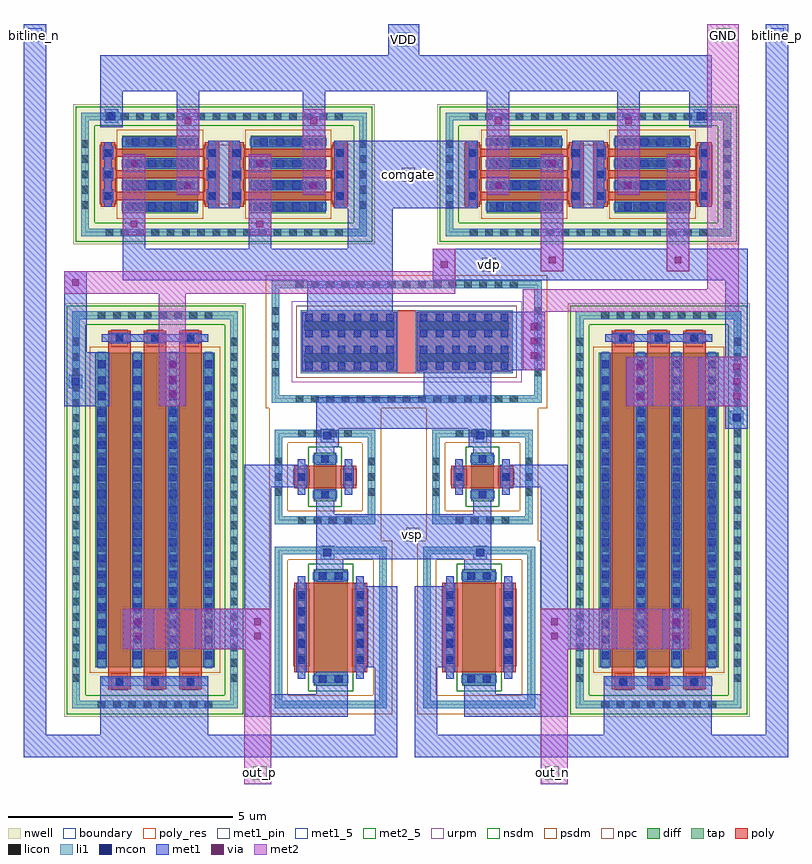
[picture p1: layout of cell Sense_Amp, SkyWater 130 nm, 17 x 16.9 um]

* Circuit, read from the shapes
.subckt Sense_Amp BITLINE_N BITLINE_P GND OUT_N OUT_P VDD comgate vdp vsp
XM1 vsp BITLINE_N OUT_P GND sky130_fd_pr__nfet_01v8 w=0.75 l=2
XM2 GND OUT_P vsp GND sky130_fd_pr__nfet_01v8 w=0.5 l=0.5
XM3 vsp BITLINE_P OUT_N GND sky130_fd_pr__nfet_01v8 w=0.75 l=2
XM4 GND OUT_N vsp GND sky130_fd_pr__nfet_01v8 w=0.5 l=0.5
XM5 OUT_P BITLINE_N vdp vdp sky130_fd_pr__pfet_01v8 w=7 l=0.5 m=3
XM6 VDD comgate comgate VDD sky130_fd_pr__pfet_01v8 w=1.67 l=0.18 m=6
XM7 VDD comgate vdp VDD sky130_fd_pr__pfet_01v8 w=1.67 l=0.18 m=6
XM8 vdp BITLINE_P OUT_N vdp sky130_fd_pr__pfet_01v8 w=7 l=0.5 m=3
XR9 GND comgate GND sky130_fd_pr__res_xhigh_po w=1.41 l=0.43
.ends

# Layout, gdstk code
from math import pi, radians
import gdstk
lib = gdstk.Library(unit=1e-6, precision=1e-09)
def R(c, l, rs):  # rectangles x0, y0, x1, y1
    for r in rs: c.add(gdstk.rectangle(r[:2], r[2:], *l))
def A(c, l, x, y, w, h, nx, ny, dx, dy):  # array of equal rectangles
    R(c, l, [(x+i*dx, y+j*dy, x+i*dx+w, y+j*dy+h) for i in range(nx) for j in range(ny)])
nwell = (64, 20)
diff = (65, 20)
tap = (65, 44)
poly_res = (66, 13)
poly = (66, 20)
licon = (66, 44)
li1 = (67, 20)
mcon = (67, 44)
met1_5 = (68, 5)
met1_pin = (68, 16)
met1 = (68, 20)
via = (68, 44)
met2_5 = (69, 5)
met2 = (69, 20)
urpm = (79, 20)
nsdm = (93, 44)
psdm = (94, 20)
npc = (95, 20)
boundary = (235, 4)

sky130_fd_pr__res_xhigh_ = lib.new_cell('sky130_fd_pr__res_xhigh_po_1p41_PQT5GU')
R(sky130_fd_pr__res_xhigh_, tap, [(-1.355,-3.005,1.355,-2.835), (-1.355,-2.835,-1.185,2.835), (1.185,-2.835,1.355,2.835), (-1.355,2.835,1.355,3.005)])
R(sky130_fd_pr__res_xhigh_, poly_res, [(-0.705,-0.275,0.705,0.275)])
R(sky130_fd_pr__res_xhigh_, poly, [(-0.705,-2.355,0.705,2.355)])
A(sky130_fd_pr__res_xhigh_, licon, -0.765, -3.005, 0.17, 0.17, 5, 2, 0.34, 5.84)
A(sky130_fd_pr__res_xhigh_, licon, -1.355, -2.465, 0.17, 0.17, 1, 15, 0, 0.34)
A(sky130_fd_pr__res_xhigh_, licon, 1.185, -2.465, 0.17, 0.17, 1, 15, 0, 0.34)
R(sky130_fd_pr__res_xhigh_, licon, [(-0.45,-2.275,-0.26,-0.275), (0.26,-2.275,0.45,-0.275), (-0.45,0.275,-0.26,2.275), (0.26,0.275,0.45,2.275)])
R(sky130_fd_pr__res_xhigh_, li1, [(-1.355,-3.005,1.355,-2.835), (-1.355,-2.835,-1.185,2.835), (1.185,-2.835,1.355,2.835), (-0.705,-2.355,0.705,-0.195), (-0.705,0.195,0.705,2.355), (-1.355,2.835,1.355,3.005)])
A(sky130_fd_pr__res_xhigh_, mcon, -0.625, -2.26, 0.17, 0.17, 4, 6, 0.36, 0.36)
A(sky130_fd_pr__res_xhigh_, mcon, -0.625, 0.285, 0.17, 0.17, 4, 6, 0.36, 0.36)
R(sky130_fd_pr__res_xhigh_, met1, [(-0.655,-2.325,0.655,-0.22), (-0.655,0.22,0.655,2.325)])
R(sky130_fd_pr__res_xhigh_, urpm, [(-0.905,-2.555,0.905,2.555)])
R(sky130_fd_pr__res_xhigh_, psdm, [(-1.48,-3.13,1.48,3.13)])
R(sky130_fd_pr__res_xhigh_, npc, [(-0.8,-2.45,0.8,2.45)])
R(sky130_fd_pr__res_xhigh_, boundary, [(-1.27,-2.92,1.27,2.92)])
sky130_fd_pr__res_xhigh_.add(gdstk.Label('B', (0,-2.92), layer=67, texttype=5))
sky130_fd_pr__res_xhigh_.add(gdstk.Label('R1', (0,2.18), layer=67, texttype=5))
sky130_fd_pr__res_xhigh_.add(gdstk.Label('R2', (0,-2.18), layer=67, texttype=5))

sky130_fd_pr__pfet_01v8_ = lib.new_cell('sky130_fd_pr__pfet_01v8_TGVDXL')
R(sky130_fd_pr__pfet_01v8_, nwell, [(-2.02,-4.595,2.02,4.595)])
R(sky130_fd_pr__pfet_01v8_, diff, [(-1.33,-3.5,1.33,3.5)])
R(sky130_fd_pr__pfet_01v8_, tap, [(-1.84,-4.415,1.84,-4.245), (-1.84,-4.245,-1.67,4.245), (1.67,-4.245,1.84,4.245), (-1.84,4.245,1.84,4.415)])
A(sky130_fd_pr__pfet_01v8_, poly, -1.04, -3.985, 0.5, 7.97, 3, 1, 0.79, 0)
A(sky130_fd_pr__pfet_01v8_, licon, -1.275, -4.415, 0.17, 0.17, 8, 2, 0.34, 8.66)
A(sky130_fd_pr__pfet_01v8_, licon, -0.875, -3.905, 0.17, 0.17, 3, 2, 0.79, 7.64)
A(sky130_fd_pr__pfet_01v8_, licon, -1.84, -3.825, 0.17, 0.17, 1, 23, 0, 0.34)
A(sky130_fd_pr__pfet_01v8_, licon, 1.67, -3.825, 0.17, 0.17, 1, 23, 0, 0.34)
A(sky130_fd_pr__pfet_01v8_, licon, -1.27, -3.315, 0.17, 0.17, 4, 20, 0.79, 0.34)
A(sky130_fd_pr__pfet_01v8_, li1, -1.27, -3.52, 0.17, 7.04, 4, 1, 0.79, 0)
R(sky130_fd_pr__pfet_01v8_, li1, [(-1.84,-4.415,1.84,-4.245), (-1.84,-4.245,-1.67,4.245), (1.67,-4.245,1.84,4.245), (-1.185,-3.905,1.185,-3.735), (-1.185,3.735,1.185,3.905), (-1.84,4.245,1.84,4.415)])
A(sky130_fd_pr__pfet_01v8_, mcon, -0.875, -3.905, 0.17, 0.17, 3, 2, 0.79, 7.64)
A(sky130_fd_pr__pfet_01v8_, mcon, -1.27, -3.325, 0.17, 0.17, 4, 19, 0.79, 0.36)
A(sky130_fd_pr__pfet_01v8_, met1, -1.02, -3.935, 0.46, 0.03, 3, 2, 0.79, 0.2)
A(sky130_fd_pr__pfet_01v8_, met1, -1.3, -3.5, 0.23, 7, 4, 1, 0.79, 0)
A(sky130_fd_pr__pfet_01v8_, met1, -1.02, 3.705, 0.46, 0.03, 3, 2, 0.79, 0.2)
R(sky130_fd_pr__pfet_01v8_, met1, [(-1.185,-3.905,1.185,-3.735), (-1.185,3.735,1.185,3.905)])
R(sky130_fd_pr__pfet_01v8_, nsdm, [(-1.965,-4.54,1.965,-4.12), (-1.965,-4.12,-1.545,4.12), (1.545,-4.12,1.965,4.12), (-1.965,4.12,1.965,4.54)])
R(sky130_fd_pr__pfet_01v8_, psdm, [(-1.455,-3.625,1.455,3.625)])
A(sky130_fd_pr__pfet_01v8_, npc, -0.975, -4.005, 0.37, 0.37, 3, 2, 0.79, 7.64)
R(sky130_fd_pr__pfet_01v8_, boundary, [(-1.755,-4.33,1.755,4.33)])
sky130_fd_pr__pfet_01v8_.add(gdstk.Label('B', (0,-4.33), layer=67, texttype=5))
sky130_fd_pr__pfet_01v8_.add(gdstk.Label('D0', (-1.185,0), layer=67, texttype=5))
sky130_fd_pr__pfet_01v8_.add(gdstk.Label('G', (0.79,3.82), layer=67, texttype=5))
sky130_fd_pr__pfet_01v8_.add(gdstk.Label('G', (0,3.82), layer=67, texttype=5))
sky130_fd_pr__pfet_01v8_.add(gdstk.Label('G', (-0.79,3.82), layer=67, texttype=5))
sky130_fd_pr__pfet_01v8_.add(gdstk.Label('S1', (-0.395,0), layer=67, texttype=5))
sky130_fd_pr__pfet_01v8_.add(gdstk.Label('D2', (0.395,0), layer=67, texttype=5))
sky130_fd_pr__pfet_01v8_.add(gdstk.Label('S2', (1.185,0), layer=67, texttype=5))

c_sky130_fd_pr__pfet_01v8_ = lib.new_cell('sky130_fd_pr__pfet_01v8_L3H7YA')
R(c_sky130_fd_pr__pfet_01v8_, nwell, [(-1.555,-3.355,1.555,3.355)])
R(c_sky130_fd_pr__pfet_01v8_, diff, [(-0.865,-2.26,0.865,-0.59), (-0.865,0.59,0.865,2.26)])
R(c_sky130_fd_pr__pfet_01v8_, tap, [(-1.375,-3.175,1.375,-3.005), (-1.375,-3.005,-1.205,3.005), (1.205,-3.005,1.375,3.005), (-1.375,3.005,1.375,3.175)])
A(c_sky130_fd_pr__pfet_01v8_, poly, -0.57, -2.415, 0.18, 1.98, 3, 2, 0.48, 2.85)
R(c_sky130_fd_pr__pfet_01v8_, poly, [(-0.72,-2.745,0.72,-2.415), (-0.72,-0.435,0.72,-0.105), (-0.72,0.105,0.72,0.435), (-0.72,2.415,0.72,2.745)])
A(c_sky130_fd_pr__pfet_01v8_, licon, -0.765, -3.175, 0.17, 0.17, 5, 2, 0.34, 6.18)
A(c_sky130_fd_pr__pfet_01v8_, licon, -0.565, -2.665, 0.17, 0.17, 3, 2, 0.48, 2.31)
A(c_sky130_fd_pr__pfet_01v8_, licon, -1.375, -2.635, 0.17, 0.17, 1, 16, 0, 0.34)
A(c_sky130_fd_pr__pfet_01v8_, licon, 1.205, -2.635, 0.17, 0.17, 1, 16, 0, 0.34)
A(c_sky130_fd_pr__pfet_01v8_, licon, -0.805, -2.19, 0.17, 0.17, 4, 5, 0.48, 0.34)
A(c_sky130_fd_pr__pfet_01v8_, licon, -0.565, 0.185, 0.17, 0.17, 3, 2, 0.48, 2.31)
A(c_sky130_fd_pr__pfet_01v8_, licon, -0.805, 0.66, 0.17, 0.17, 4, 5, 0.48, 0.34)
A(c_sky130_fd_pr__pfet_01v8_, li1, -0.805, -2.28, 0.17, 1.71, 4, 2, 0.48, 2.85)
R(c_sky130_fd_pr__pfet_01v8_, li1, [(-1.375,-3.175,1.375,-3.005), (-1.375,-3.005,-1.205,3.005), (1.205,-3.005,1.375,3.005), (-0.72,-2.665,0.72,-2.495), (-0.72,-0.355,0.72,-0.185), (-0.72,0.185,0.72,0.355), (-0.72,2.495,0.72,2.665), (-1.375,3.005,1.375,3.175)])
A(c_sky130_fd_pr__pfet_01v8_, mcon, -0.565, -2.665, 0.17, 0.17, 3, 2, 0.48, 2.31)
A(c_sky130_fd_pr__pfet_01v8_, mcon, -0.805, -2.05, 0.17, 0.17, 4, 4, 0.48, 0.36)
A(c_sky130_fd_pr__pfet_01v8_, mcon, -0.565, 0.185, 0.17, 0.17, 3, 2, 0.48, 2.31)
A(c_sky130_fd_pr__pfet_01v8_, mcon, -0.805, 0.8, 0.17, 0.17, 4, 4, 0.48, 0.36)
A(c_sky130_fd_pr__pfet_01v8_, met1, -0.625, -2.695, 0.29, 0.03, 3, 2, 0.48, 0.2)
A(c_sky130_fd_pr__pfet_01v8_, met1, -0.835, -2.26, 0.23, 1.67, 4, 2, 0.48, 2.85)
A(c_sky130_fd_pr__pfet_01v8_, met1, -0.625, -0.385, 0.29, 0.03, 3, 2, 0.48, 0.2)
A(c_sky130_fd_pr__pfet_01v8_, met1, -0.625, 0.155, 0.29, 0.03, 3, 2, 0.48, 0.2)
A(c_sky130_fd_pr__pfet_01v8_, met1, -0.625, 2.465, 0.29, 0.03, 3, 2, 0.48, 0.2)
R(c_sky130_fd_pr__pfet_01v8_, met1, [(-0.72,-2.665,0.72,-2.495), (-0.72,-0.355,0.72,-0.185), (-0.72,0.185,0.72,0.355), (-0.72,2.495,0.72,2.665)])
R(c_sky130_fd_pr__pfet_01v8_, nsdm, [(-1.5,-3.3,1.5,-2.88), (-1.5,-2.88,-1.08,2.88), (1.08,-2.88,1.5,2.88), (-1.5,2.88,1.5,3.3)])
R(c_sky130_fd_pr__pfet_01v8_, psdm, [(-0.99,-2.385,0.99,-0.465), (-0.99,0.465,0.99,2.385)])
R(c_sky130_fd_pr__pfet_01v8_, npc, [(-0.665,-2.765,0.665,-2.395), (-0.665,-0.455,0.665,0.455), (-0.665,2.395,0.665,2.765)])
R(c_sky130_fd_pr__pfet_01v8_, boundary, [(-1.29,-3.09,1.29,3.09)])
c_sky130_fd_pr__pfet_01v8_.add(gdstk.Label('B', (0,-3.09), layer=67, texttype=5))
c_sky130_fd_pr__pfet_01v8_.add(gdstk.Label('D0_0', (-0.72,-1.425), layer=67, texttype=5))
c_sky130_fd_pr__pfet_01v8_.add(gdstk.Label('G0', (0.48,-0.27), layer=67, texttype=5))
c_sky130_fd_pr__pfet_01v8_.add(gdstk.Label('G0', (0,-0.27), layer=67, texttype=5))
c_sky130_fd_pr__pfet_01v8_.add(gdstk.Label('G0', (-0.48,-0.27), layer=67, texttype=5))
c_sky130_fd_pr__pfet_01v8_.add(gdstk.Label('D0_1', (-0.72,1.425), layer=67, texttype=5))
c_sky130_fd_pr__pfet_01v8_.add(gdstk.Label('G1', (0.48,2.58), layer=67, texttype=5))
c_sky130_fd_pr__pfet_01v8_.add(gdstk.Label('G1', (0,2.58), layer=67, texttype=5))
c_sky130_fd_pr__pfet_01v8_.add(gdstk.Label('G1', (-0.48,2.58), layer=67, texttype=5))
c_sky130_fd_pr__pfet_01v8_.add(gdstk.Label('S1_0', (-0.24,-1.425), layer=67, texttype=5))
c_sky130_fd_pr__pfet_01v8_.add(gdstk.Label('S1_1', (-0.24,1.425), layer=67, texttype=5))
c_sky130_fd_pr__pfet_01v8_.add(gdstk.Label('D2_0', (0.24,-1.425), layer=67, texttype=5))
c_sky130_fd_pr__pfet_01v8_.add(gdstk.Label('S2_0', (0.72,-1.425), layer=67, texttype=5))
c_sky130_fd_pr__pfet_01v8_.add(gdstk.Label('D2_1', (0.24,1.425), layer=67, texttype=5))
c_sky130_fd_pr__pfet_01v8_.add(gdstk.Label('S2_1', (0.72,1.425), layer=67, texttype=5))

sky130_fd_pr__nfet_01v8_ = lib.new_cell('sky130_fd_pr__nfet_01v8_X3NVM9')
R(sky130_fd_pr__nfet_01v8_, diff, [(-0.54,-0.25,0.54,0.25)])
R(sky130_fd_pr__nfet_01v8_, tap, [(-1.05,-1.12,1.05,-0.95), (-1.05,-0.95,-0.88,0.95), (0.88,-0.95,1.05,0.95), (-1.05,0.95,1.05,1.12)])
R(sky130_fd_pr__nfet_01v8_, poly, [(-0.25,-0.69,0.25,0.69)])
A(sky130_fd_pr__nfet_01v8_, licon, -0.425, -1.12, 0.17, 0.17, 3, 2, 0.34, 2.07)
A(sky130_fd_pr__nfet_01v8_, licon, -1.05, -0.595, 0.17, 0.17, 1, 4, 0, 0.34)
A(sky130_fd_pr__nfet_01v8_, licon, 0.88, -0.595, 0.17, 0.17, 1, 4, 0, 0.34)
R(sky130_fd_pr__nfet_01v8_, licon, [(-0.085,-0.61,0.085,-0.44), (-0.48,-0.085,-0.31,0.085), (0.31,-0.085,0.48,0.085), (-0.085,0.44,0.085,0.61)])
R(sky130_fd_pr__nfet_01v8_, li1, [(-1.05,-1.12,1.05,-0.95), (-1.05,-0.95,-0.88,0.95), (0.88,-0.95,1.05,0.95), (-0.395,-0.61,0.395,-0.44), (-0.48,-0.27,-0.31,0.27), (0.31,-0.27,0.48,0.27), (-0.395,0.44,0.395,0.61), (-1.05,0.95,1.05,1.12)])
R(sky130_fd_pr__nfet_01v8_, mcon, [(-0.085,-0.61,0.085,-0.44), (-0.48,-0.085,-0.31,0.085), (0.31,-0.085,0.48,0.085), (-0.085,0.44,0.085,0.61)])
R(sky130_fd_pr__nfet_01v8_, met1, [(-0.23,-0.64,0.23,-0.61), (-0.395,-0.61,0.395,-0.44), (-0.23,-0.44,0.23,-0.41), (-0.51,-0.25,-0.28,0.25), (0.28,-0.25,0.51,0.25), (-0.23,0.41,0.23,0.44), (-0.395,0.44,0.395,0.61), (-0.23,0.61,0.23,0.64)])
R(sky130_fd_pr__nfet_01v8_, nsdm, [(-0.665,-0.375,0.665,0.375)])
R(sky130_fd_pr__nfet_01v8_, psdm, [(-1.175,-1.245,1.175,-0.825), (-1.175,-0.825,-0.755,0.825), (0.755,-0.825,1.175,0.825), (-1.175,0.825,1.175,1.245)])
R(sky130_fd_pr__nfet_01v8_, npc, [(-0.185,-0.71,0.185,-0.34), (-0.185,0.34,0.185,0.71)])
R(sky130_fd_pr__nfet_01v8_, boundary, [(-0.965,-1.035,0.965,1.035)])
sky130_fd_pr__nfet_01v8_.add(gdstk.Label('B', (0,-1.035), layer=67, texttype=5))
sky130_fd_pr__nfet_01v8_.add(gdstk.Label('D', (-0.395,0), layer=67, texttype=5))
sky130_fd_pr__nfet_01v8_.add(gdstk.Label('S', (0.395,0), layer=67, texttype=5))
sky130_fd_pr__nfet_01v8_.add(gdstk.Label('G', (0,0.525), layer=67, texttype=5))

c_sky130_fd_pr__nfet_01v8_ = lib.new_cell('sky130_fd_pr__nfet_01v8_WKGXRG')
R(c_sky130_fd_pr__nfet_01v8_, diff, [(-0.54,-0.25,0.54,0.25)])
R(c_sky130_fd_pr__nfet_01v8_, tap, [(-1.05,-1.12,1.05,-0.95), (-1.05,-0.95,-0.88,0.95), (0.88,-0.95,1.05,0.95), (-1.05,0.95,1.05,1.12)])
R(c_sky130_fd_pr__nfet_01v8_, poly, [(-0.25,-0.69,0.25,0.69)])
A(c_sky130_fd_pr__nfet_01v8_, licon, -0.425, -1.12, 0.17, 0.17, 3, 2, 0.34, 2.07)
A(c_sky130_fd_pr__nfet_01v8_, licon, -1.05, -0.595, 0.17, 0.17, 1, 4, 0, 0.34)
A(c_sky130_fd_pr__nfet_01v8_, licon, 0.88, -0.595, 0.17, 0.17, 1, 4, 0, 0.34)
R(c_sky130_fd_pr__nfet_01v8_, licon, [(-0.085,-0.61,0.085,-0.44), (-0.48,-0.085,-0.31,0.085), (0.31,-0.085,0.48,0.085), (-0.085,0.44,0.085,0.61)])
R(c_sky130_fd_pr__nfet_01v8_, li1, [(-1.05,-1.12,1.05,-0.95), (-1.05,-0.95,-0.88,0.95), (0.88,-0.95,1.05,0.95), (-0.395,-0.61,0.395,-0.44), (-0.48,-0.27,-0.31,0.27), (0.31,-0.27,0.48,0.27), (-0.395,0.44,0.395,0.61), (-1.05,0.95,1.05,1.12)])
R(c_sky130_fd_pr__nfet_01v8_, mcon, [(-0.085,-0.61,0.085,-0.44), (-0.48,-0.085,-0.31,0.085), (0.31,-0.085,0.48,0.085), (-0.085,0.44,0.085,0.61)])
R(c_sky130_fd_pr__nfet_01v8_, met1, [(-0.23,-0.64,0.23,-0.61), (-0.395,-0.61,0.395,-0.44), (-0.23,-0.44,0.23,-0.41), (-0.51,-0.25,-0.28,0.25), (0.28,-0.25,0.51,0.25), (-0.23,0.41,0.23,0.44), (-0.395,0.44,0.395,0.61), (-0.23,0.61,0.23,0.64)])
R(c_sky130_fd_pr__nfet_01v8_, nsdm, [(-0.665,-0.375,0.665,0.375)])
R(c_sky130_fd_pr__nfet_01v8_, psdm, [(-1.175,-1.245,1.175,-0.825), (-1.175,-0.825,-0.755,0.825), (0.755,-0.825,1.175,0.825), (-1.175,0.825,1.175,1.245)])
R(c_sky130_fd_pr__nfet_01v8_, npc, [(-0.185,-0.71,0.185,-0.34), (-0.185,0.34,0.185,0.71)])
R(c_sky130_fd_pr__nfet_01v8_, boundary, [(-0.965,-1.035,0.965,1.035)])
c_sky130_fd_pr__nfet_01v8_.add(gdstk.Label('B', (0,-1.035), layer=67, texttype=5))
c_sky130_fd_pr__nfet_01v8_.add(gdstk.Label('D', (-0.395,0), layer=67, texttype=5))
c_sky130_fd_pr__nfet_01v8_.add(gdstk.Label('S', (0.395,0), layer=67, texttype=5))
c_sky130_fd_pr__nfet_01v8_.add(gdstk.Label('G', (0,0.525), layer=67, texttype=5))

c_sky130_fd_pr__nfet_01v8__ = lib.new_cell('sky130_fd_pr__nfet_01v8_BDYFCZ')
R(c_sky130_fd_pr__nfet_01v8__, diff, [(-1.29,-0.375,1.29,0.375)])
R(c_sky130_fd_pr__nfet_01v8__, tap, [(-1.8,-1.245,1.8,-1.075), (-1.8,-1.075,-1.63,1.075), (1.63,-1.075,1.8,1.075), (-1.8,1.075,1.8,1.245)])
R(c_sky130_fd_pr__nfet_01v8__, poly, [(-1,-0.815,1,0.815)])
A(c_sky130_fd_pr__nfet_01v8__, licon, -0.765, -0.735, 0.17, 0.17, 5, 2, 0.34, 1.3)
R(c_sky130_fd_pr__nfet_01v8__, licon, [(-1.23,-0.255,-1.06,-0.085), (1.06,-0.255,1.23,-0.085), (-1.23,0.085,-1.06,0.255), (1.06,0.085,1.23,0.255)])
R(c_sky130_fd_pr__nfet_01v8__, li1, [(-1.8,-1.245,1.8,-1.075), (-1.8,-1.075,-1.63,1.075), (1.63,-1.075,1.8,1.075), (-1.145,-0.735,1.145,-0.565), (-1.23,-0.395,-1.06,0.395), (1.06,-0.395,1.23,0.395), (-1.145,0.565,1.145,0.735), (-1.8,1.075,1.8,1.245)])
A(c_sky130_fd_pr__nfet_01v8__, mcon, -0.805, -0.735, 0.17, 0.17, 5, 2, 0.36, 1.3)
R(c_sky130_fd_pr__nfet_01v8__, mcon, [(-1.23,-0.265,-1.06,-0.095), (1.06,-0.265,1.23,-0.095), (-1.23,0.095,-1.06,0.265), (1.06,0.095,1.23,0.265)])
R(c_sky130_fd_pr__nfet_01v8__, met1, [(-0.98,-0.765,0.98,-0.735), (-1.145,-0.735,1.145,-0.565), (-0.98,-0.565,0.98,-0.535), (-1.26,-0.375,-1.03,0.375), (1.03,-0.375,1.26,0.375), (-0.98,0.535,0.98,0.565), (-1.145,0.565,1.145,0.735), (-0.98,0.735,0.98,0.765)])
R(c_sky130_fd_pr__nfet_01v8__, nsdm, [(-1.415,-0.5,1.415,0.5)])
R(c_sky130_fd_pr__nfet_01v8__, psdm, [(-1.925,-1.37,1.925,-0.95), (-1.925,-0.95,-1.505,0.95), (1.505,-0.95,1.925,0.95), (-1.925,0.95,1.925,1.37)])
R(c_sky130_fd_pr__nfet_01v8__, npc, [(-0.865,-0.835,0.865,-0.465), (-0.865,0.465,0.865,0.835)])
R(c_sky130_fd_pr__nfet_01v8__, boundary, [(-1.715,-1.16,1.715,1.16)])
c_sky130_fd_pr__nfet_01v8__.add(gdstk.Label('B', (0,-1.16), layer=65, texttype=5))
c_sky130_fd_pr__nfet_01v8__.add(gdstk.Label('D', (-1.145,0), layer=67, texttype=5))
c_sky130_fd_pr__nfet_01v8__.add(gdstk.Label('S', (1.145,0), layer=67, texttype=5))
c_sky130_fd_pr__nfet_01v8__.add(gdstk.Label('G', (0,0.65), layer=67, texttype=5))

sense_amp = lib.new_cell('Sense_Amp')
R(sense_amp, li1, [(13.2,18.5,13.5,18.8), (16.6,18.5,16.9,18.8), (13.2,21.1,13.5,21.4), (16.6,21.1,16.9,21.4), (22.3,21.5,22.6,21.8), (7.6,22.3,7.9,22.6), (8.4,28.2,8.7,28.5), (21.5,28.2,21.8,28.5)])
R(sense_amp, mcon, [(13.265,18.565,13.435,18.735), (16.665,18.565,16.835,18.735), (13.265,21.165,13.435,21.335), (16.665,21.165,16.835,21.335), (22.365,21.565,22.535,21.735), (7.665,22.365,7.835,22.535), (8.465,28.265,8.635,28.435), (21.565,28.265,21.735,28.435)])
R(sense_amp, met1_5, [(14.9,29.9,15.2,30.2), (6.7,30,7,30.3), (6.7,30,7,30.3), (23.2,30,23.5,30.3), (23.2,30,23.5,30.3)])
R(sense_amp, met1_pin, [(15.1,18.9,15.4,19.2), (16.8,24.9,17.1,25.2), (15,26.9,15.3,27.2)])
R(sense_amp, met1, [(6.6,14.1,14.9,14.6), (15.3,14.1,23.6,14.6), (6.6,14.6,7.1,30.4), (8.3,14.6,10.7,15.9), (14.4,14.6,14.9,16.1), (15.3,14.6,15.8,16.1), (19.5,14.6,21.9,15.9), (23.1,14.6,23.6,30.4), (11.5,15,13.8,15.5), (16.4,15,18.7,15.5), (11.5,15.5,12.1,16.5), (13.1,15.5,13.8,16), (16.4,15.5,17.1,15.9), (18.1,15.5,18.7,16.5), (14,16.1,14.9,17.9), (15.3,16.1,16.2,17.9), (8.8,16.5,9.5,17.4), (10.4,16.5,12.1,17.4), (18.1,16.5,19.8,17.4), (20.8,16.5,21.4,17.4), (11.5,17.4,12.1,20.1), (18.1,17.4,18.7,20.1), (13.1,18,13.7,18.5), (16.4,18,17,18.5), (13.1,18.5,17,19.5), (13.1,19.5,13.5,20), (16.6,19.5,17,20), (11.5,20.1,12.9,20.6), (17.2,20.1,18.7,20.6), (13.1,20.6,13.5,21), (16.6,20.6,17,21), (13.1,21,13.6,21.4), (16.5,21,17,21.4), (13.1,21.4,17,22.1), (22.2,21.4,22.7,21.9), (7.5,21.9,8.5,23.1), (9.6,21.9,10.2,23.1), (20,21.9,20.6,23), (21.6,21.9,22.7,23), (15.5,22.1,17,22.7), (15.4,22.7,18.2,24), (22.2,23,22.7,24.7), (7.5,23.1,8,24.9), (12.9,23.6,14.4,23.8), (12.9,23.8,14.8,24.7), (8.8,24.7,14.8,25.4), (15.7,24.7,22.7,25.4), (8.8,25.4,9.3,26.5), (11.6,25.4,12.1,26.5), (13.8,25.4,14.8,26.3), (18.1,25.4,18.6,26.5), (20.9,25.4,21.4,26.5), (10.7,26.3,11.4,27.8), (13.5,26.3,16.7,27.8), (18.8,26.3,19.5,27.8), (10,26.6,10.5,27), (12.8,26.6,13.3,27), (16.9,26.6,17.4,27), (19.8,26.6,20.3,27), (8.8,27.1,9.3,27.5), (11.6,27.1,12.1,27.5), (18.1,27.1,18.6,27.5), (20.9,27.1,21.4,27.5), (10,27.6,10.5,28.9), (12.8,27.6,13.3,28.9), (16.9,27.6,17.4,28.9), (19.8,27.6,20.3,28.9), (8.3,28.1,8.8,28.9), (21.4,28.1,21.9,28.9), (8.3,28.9,21.9,29.7), (14.7,29.7,15.4,30.4)])
A(sense_amp, via, 20.225, 22.055, 0.15, 0.15, 1, 3, 0, 0.32)
A(sense_amp, via, 22.375, 22.055, 0.15, 0.15, 1, 3, 0, 0.32)
A(sense_amp, via, 9.825, 22.105, 0.15, 0.15, 1, 3, 0, 0.32)
A(sense_amp, via, 17.875, 22.955, 0.15, 0.15, 1, 3, 0, 0.32)
R(sense_amp, via, [(9.075,16.715,9.225,16.865), (11.725,16.715,11.875,16.865), (18.325,16.715,18.475,16.865), (21.025,16.715,21.175,16.865), (9.075,17.035,9.225,17.185), (11.725,17.035,11.875,17.185), (18.325,17.035,18.475,17.185), (21.025,17.035,21.175,17.185), (7.675,24.575,7.825,24.725), (15.875,24.975,16.025,25.125), (18.275,25.075,18.425,25.225), (21.075,25.075,21.225,25.225), (8.975,25.875,9.125,26.025), (11.775,25.875,11.925,26.025), (10.175,26.725,10.325,26.875), (12.975,26.725,13.125,26.875), (17.075,26.725,17.225,26.875), (19.975,26.725,20.125,26.875), (8.975,27.225,9.125,27.375), (11.775,27.225,11.925,27.375), (18.275,27.225,18.425,27.375), (21.075,27.225,21.225,27.375), (10.175,28.175,10.325,28.325), (12.975,28.175,13.125,28.325), (17.075,28.175,17.225,28.325), (19.975,28.175,20.125,28.325)])
R(sense_amp, met2_5, [(11.7,13.6,12,13.9), (11.7,13.6,12,13.9), (18.2,13.6,18.5,13.9), (18.2,13.6,18.5,13.9), (22,30,22.3,30.3)])
R(sense_amp, met2, [(11.5,13.5,12.1,16.5), (18.1,13.5,18.7,16.5), (8.8,16.5,12.1,17.4), (18.1,16.5,21.4,17.4), (9.6,21.9,10.2,24.4), (20,21.9,22.7,23), (17.7,22.7,18.2,24), (17.7,24,22.5,24.5), (7.5,24.4,16.2,24.9), (21.8,24.5,22.5,30.4), (15.7,24.9,16.2,25.4), (18.1,24.9,18.6,27.5), (20.9,24.9,21.4,27.5), (8.8,25.7,9.3,27.5), (11.6,25.7,12.1,27.5), (10,26.6,10.5,28.5), (12.8,26.6,13.3,28.5), (16.9,26.6,17.4,28.5), (19.8,26.6,20.3,28.5)])
R(sense_amp, psdm, [(12.055,18.905,14.545,19.155), (15.555,18.905,18.045,19.155), (12.055,21.505,14.545,21.855), (15.555,21.505,18.045,21.855)])
sense_amp.add(gdstk.Reference(sky130_fd_pr__res_xhigh_, (15.115,23.335), rotation=pi/2))
sense_amp.add(gdstk.Reference(sky130_fd_pr__pfet_01v8_, (20.72,19.595)))
sense_amp.add(gdstk.Reference(sky130_fd_pr__pfet_01v8_, (9.52,19.595)))
sense_amp.add(gdstk.Reference(c_sky130_fd_pr__pfet_01v8_, (11.055,27.055), rotation=3*pi/2))
sense_amp.add(gdstk.Reference(c_sky130_fd_pr__pfet_01v8_, (19.155,27.055), rotation=3*pi/2))
sense_amp.add(gdstk.Reference(sky130_fd_pr__nfet_01v8_, (16.8,20.33), rotation=3*pi/2))
sense_amp.add(gdstk.Reference(c_sky130_fd_pr__nfet_01v8_, (13.3,20.33), rotation=3*pi/2))
sense_amp.add(gdstk.Reference(c_sky130_fd_pr__nfet_01v8__, (16.725,16.98), rotation=3*pi/2))
sense_amp.add(gdstk.Reference(c_sky130_fd_pr__nfet_01v8__, (13.425,16.98), rotation=3*pi/2))
sense_amp.add(gdstk.Label('bitline_n', (6.85,30.15), layer=68, texttype=5))
sense_amp.add(gdstk.Label('bitline_p', (23.35,30.15), layer=68, texttype=5))
sense_amp.add(gdstk.Label('out_p', (11.85,13.75), layer=69, texttype=5))
sense_amp.add(gdstk.Label('out_n', (18.35,13.75), layer=69, texttype=5))
sense_amp.add(gdstk.Label('VDD', (15.05,30.05), layer=68, texttype=5))
sense_amp.add(gdstk.Label('GND', (22.15,30.15), layer=69, texttype=5))
sense_amp.add(gdstk.Label('BITLINE_P', (23.35,30.15), layer=68, texttype=5))
sense_amp.add(gdstk.Label('BITLINE_N', (6.85,30.15), layer=68, texttype=5))
sense_amp.add(gdstk.Label('OUT_P', (11.85,13.75), layer=69, texttype=5))
sense_amp.add(gdstk.Label('OUT_N', (18.35,13.75), layer=69, texttype=5))
sense_amp.add(gdstk.Label('comgate', (15.15,27.05), layer=68, texttype=5))
sense_amp.add(gdstk.Label('vsp', (15.25,19.05), layer=68, texttype=5))
sense_amp.add(gdstk.Label('vdp', (16.95,25.05), layer=68, texttype=5))

lib.write_gds('Sense_Amp.gds')
